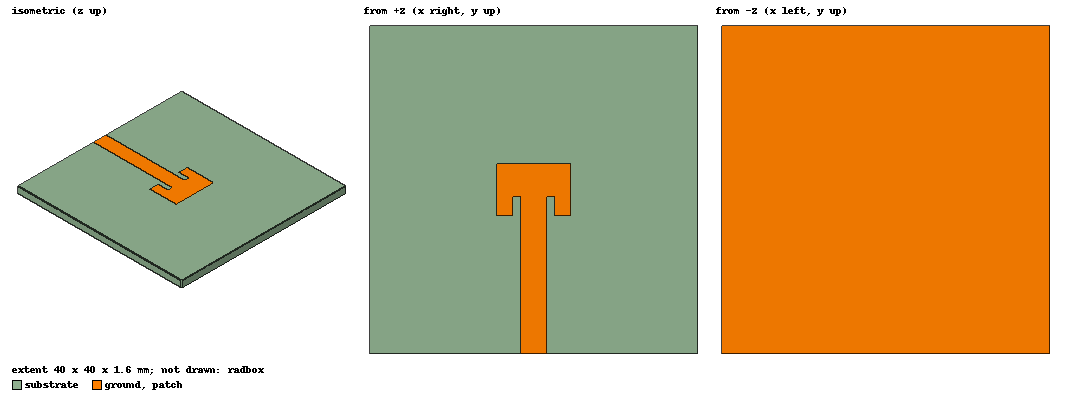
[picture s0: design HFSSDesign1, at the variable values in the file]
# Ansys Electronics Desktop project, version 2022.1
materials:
  vacuum: permittivity=1
  FR4_epoxy: permittivity=4.4 dielectric_loss_tangent=0.02

design HFSSDesign1 (HFSS, DrivenModal, model units mm)
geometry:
  ground = rectangle(corner=(-20mm, -20mm, 0mm), x_size=40mm, y_size=40mm)
  substrate [FR4_epoxy] = box(corner=(-20mm, -20mm, 0mm), size=(40mm, 40mm, 1.6mm))
  patch = rectangle(corner=((-9.12/2) mm, (-6.43/2) mm, 1.6mm), x_size=9.12mm, y_size=6.43mm)
  cut = rectangle(corner=((-5.06/2) mm, (-6.43/2) mm, 1.6mm), x_size=5.06mm, y_size=2.4mm)
  patch.subtract(cut)
  feedline = rectangle(corner=((-3.06/2) mm, -20mm, 1.6mm), x_size=3.06mm, y_size=20mm)
  patch.unite(feedline)
  port = rectangle(corner=(-1.53mm, -20mm, 1.6mm), z_size=-1.6mm, x_size=3.06mm)
  radbox [vacuum] = box(corner=(-35mm, 25mm, -20mm), size=(70mm, -55mm, 40mm))
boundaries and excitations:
  PerfE1: Perfect E Objects=[patch, ground]
  Rad1: Radiation Objects=radbox
  1: Lumped Port Objects=port Modes{Mode1{IntLine{(0, -20, 0) -> (0, -20, 1.6)} CharImp=Zpi RenormImp=50ohm}} Impedance=50ohm
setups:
  Setup1: HfssDriven Frequency=10GHz MaxDeltaS=0.02 MaximumPasses=20 MinimumPasses=1 MinimumConvergedPasses=1 PercentRefinement=30 BasisOrder=1 PortAccuracy=2 DrivenSolverType="Direct Solver"
    sweep Sweep: 8GHz to 13GHz step 0.02GHz; Type=Fast SaveFields
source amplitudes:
  1:1: 1W 0deg
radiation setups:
  Infinite Sphere1: Infinite Sphere Theta=0deg..360deg step 2deg Phi=0deg..360deg step 2deg
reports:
  S Parameter Plot 1: dB(S(1,1)) vs Freq on Setup1 : Sweep
